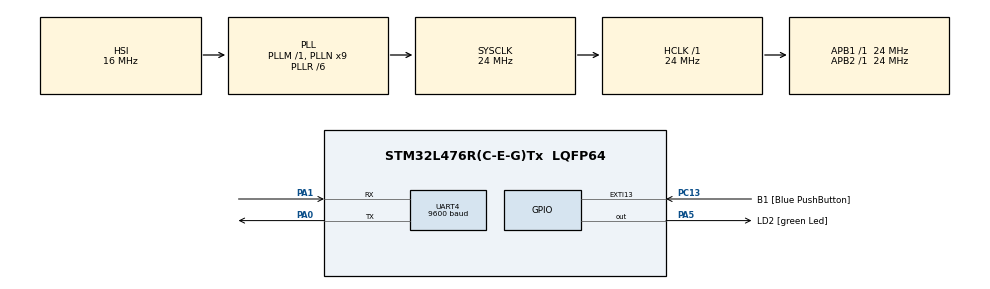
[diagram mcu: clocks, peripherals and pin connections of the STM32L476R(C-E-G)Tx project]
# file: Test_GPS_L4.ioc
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Dma.Request0=UART4_RX
Dma.Request1=UART4_TX
Dma.UART4_RX.0.Direction=DMA_PERIPH_TO_MEMORY
Dma.UART4_RX.0.Instance=DMA2_Channel5
Dma.UART4_RX.0.MemDataAlignment=DMA_MDATAALIGN_BYTE
Dma.UART4_RX.0.MemInc=DMA_MINC_ENABLE
Dma.UART4_RX.0.Mode=DMA_NORMAL
Dma.UART4_RX.0.PeriphDataAlignment=DMA_PDATAALIGN_BYTE
Dma.UART4_RX.0.PeriphInc=DMA_PINC_DISABLE
Dma.UART4_RX.0.Priority=DMA_PRIORITY_LOW
Dma.UART4_TX.1.Direction=DMA_MEMORY_TO_PERIPH
Dma.UART4_TX.1.Instance=DMA2_Channel3
Dma.UART4_TX.1.MemDataAlignment=DMA_MDATAALIGN_BYTE
Dma.UART4_TX.1.MemInc=DMA_MINC_ENABLE
Dma.UART4_TX.1.Mode=DMA_NORMAL
Dma.UART4_TX.1.PeriphDataAlignment=DMA_PDATAALIGN_BYTE
Dma.UART4_TX.1.PeriphInc=DMA_PINC_DISABLE
Dma.UART4_TX.1.Priority=DMA_PRIORITY_LOW
Mcu.Family=STM32L4
Mcu.Name=STM32L476R(C-E-G)Tx
Mcu.Package=LQFP64
NVIC.DMA2_Channel3_IRQn=true\:0\:0\:false\:false\:true\:false\:true
NVIC.DMA2_Channel5_IRQn=true\:0\:0\:false\:false\:true\:false\:true
NVIC.PriorityGroup=NVIC_PRIORITYGROUP_4
NVIC.TIM5_IRQn=true\:0\:0\:false\:false\:true\:true\:true
NVIC.UART4_IRQn=true\:0\:0\:false\:false\:true\:true\:true
PA0.Mode=Asynchronous
PA0.Signal=UART4_TX
PA1.Mode=Asynchronous
PA1.Signal=UART4_RX
PA13\ (JTMS-SWDIO).GPIO_Label=TMS
PA13\ (JTMS-SWDIO).Mode=Serial_Wire
PA13\ (JTMS-SWDIO).Signal=SYS_JTMS-SWDIO
PA14\ (JTCK-SWCLK).GPIO_Label=TCK
PA14\ (JTCK-SWCLK).Mode=Serial_Wire
PA14\ (JTCK-SWCLK).Signal=SYS_JTCK-SWCLK
PA5.GPIO_Label=LD2 [green Led]
PA5.GPIO_ModeDefaultOutputPP=GPIO_MODE_OUTPUT_PP
PA5.GPIO_PuPd=GPIO_NOPULL
PA5.GPIO_Speed=GPIO_SPEED_FREQ_LOW
PA5.Signal=GPIO_Output
PB3\ (JTDO-TRACESWO).GPIO_Label=SWO
PB3\ (JTDO-TRACESWO).Signal=SYS_JTDO-SWO
PC13.GPIO_Label=B1 [Blue PushButton]
PC13.GPIO_ModeDefaultEXTI=GPIO_MODE_IT_FALLING
PC13.GPIO_PuPd=GPIO_NOPULL
PC13.Signal=GPXTI13
PC14-OSC32_IN\ (PC14).Mode=LSE-External-Oscillator
PC14-OSC32_IN\ (PC14).Signal=RCC_OSC32_IN
PC15-OSC32_OUT\ (PC15).Mode=LSE-External-Oscillator
PC15-OSC32_OUT\ (PC15).Signal=RCC_OSC32_OUT
PH0-OSC_IN\ (PH0).Mode=HSE-External-Oscillator
PH0-OSC_IN\ (PH0).Signal=RCC_OSC_IN
PH1-OSC_OUT\ (PH1).Mode=HSE-External-Oscillator
PH1-OSC_OUT\ (PH1).Signal=RCC_OSC_OUT
ProjectManager.HeapSize=0x200
ProjectManager.StackSize=0x400
ProjectManager.TargetToolchain=TrueSTUDIO
RCC.ADCFreq_Value=64000000
RCC.AHBFreq_Value=24000000
RCC.APB1Freq_Value=24000000
RCC.APB1TimFreq_Value=24000000
RCC.APB2Freq_Value=24000000
RCC.APB2TimFreq_Value=24000000
RCC.CortexFreq_Value=24000000
RCC.HCLKFreq_Value=24000000
RCC.HSE_VALUE=8000000
RCC.HSI_VALUE=16000000
RCC.MSI_VALUE=4000000
RCC.PLLN=9
RCC.PLLR=RCC_PLLR_DIV6
RCC.PLLSourceVirtual=RCC_PLLSOURCE_HSI
RCC.PREFETCH_ENABLE=1
RCC.SYSCLKFreq_VALUE=24000000
RCC.SYSCLKSource=RCC_SYSCLKSOURCE_PLLCLK
RCC.USBFreq_Value=64000000
RCC.VCOOutputFreq_Value=144000000
TIM5.Period=480
TIM5.Prescaler=23999
UART4.AutoBaudRateEnableParam=UART_ADVFEATURE_AUTOBAUDRATE_DISABLE
UART4.BaudRate=9600
VP_TIM5_VS_ClockSourceINT.Mode=Internal
board=NUCLEO-L476RG

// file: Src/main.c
/* USER CODE BEGIN Header */
/**
  ******************************************************************************
  * @file           : main.c
  * @brief          : Main program body
  ******************************************************************************
  * @attention
  *
  * <h2><center>&copy; Copyright (c) 2020 STMicroelectronics.
  * All rights reserved.</center></h2>
  *
  * This software component is licensed by ST under BSD 3-Clause license,
  * the "License"; You may not use this file except in compliance with the
  * License. You may obtain a copy of the License at:
  *                        opensource.org/licenses/BSD-3-Clause
  *
  ******************************************************************************
  */
/* USER CODE END Header */

#include "main.h"

/* USER CODE BEGIN Includes */
#include "HAL_GPS.h"
/* USER CODE END Includes */

TIM_HandleTypeDef htim5;

UART_HandleTypeDef huart4;
DMA_HandleTypeDef hdma_uart4_rx;
DMA_HandleTypeDef hdma_uart4_tx;

DMA_HandleTypeDef hdma_memtomem_dma1_channel1;

void SystemClock_Config(void);
static void MX_GPIO_Init(void);
static void MX_DMA_Init(void);
static void MX_UART4_Init();
static void MX_TIM5_Init(void);

int main(void)
{

  /* MCU Configuration--------------------------------------------------------*/

  /* Reset of all peripherals, Initializes the Flash interface and the Systick. */
  HAL_Init();

  /* Configure the system clock */
  SystemClock_Config();

  /* Initialize all configured peripherals */
  MX_GPIO_Init();
  MX_DMA_Init();
  MX_TIM5_Init();
  /* USER CODE BEGIN 2 */
  //calculate timeout
  MX_DMA_Init();
  MX_UART4_Init();

  __HAL_DMA_ENABLE_IT(&hdma_uart4_rx, DMA_IT_TC);
  __HAL_UART_ENABLE_IT(&huart4,UART_IT_IDLE);
  HAL_UART_Receive_DMA(&huart4,DMA_RX_Buffer,DMA_RX_BUFFER_SIZE);
  //uint32_t ack_ack = UBX_Send_Ack();
//  if(ack_ack == UBX_ACK_ACK)
//  {
//	  HAL_GPIO_WritePin(LD2_GPIO_Port,LD2_Pin,SET);
//  }

  /* USER CODE END 2 */

  /* Infinite loop */
  /* USER CODE BEGIN WHILE */
  int i = 0;
  while (1)
  {
    /* USER CODE END WHILE */
	 i++;
  }
}

void SystemClock_Config(void)
{
  RCC_OscInitTypeDef RCC_OscInitStruct = {0};
  RCC_ClkInitTypeDef RCC_ClkInitStruct = {0};
  RCC_PeriphCLKInitTypeDef PeriphClkInit = {0};

  /** Initializes the CPU, AHB and APB busses clocks
  */
  RCC_OscInitStruct.OscillatorType = RCC_OSCILLATORTYPE_HSI;
  RCC_OscInitStruct.HSIState = RCC_HSI_ON;
  RCC_OscInitStruct.HSICalibrationValue = RCC_HSICALIBRATION_DEFAULT;
  RCC_OscInitStruct.PLL.PLLState = RCC_PLL_ON;
  RCC_OscInitStruct.PLL.PLLSource = RCC_PLLSOURCE_HSI;
  RCC_OscInitStruct.PLL.PLLM = 1;
  RCC_OscInitStruct.PLL.PLLN = 9;
  RCC_OscInitStruct.PLL.PLLP = RCC_PLLP_DIV7;
  RCC_OscInitStruct.PLL.PLLQ = RCC_PLLQ_DIV2;
  RCC_OscInitStruct.PLL.PLLR = RCC_PLLR_DIV6;
  if (HAL_RCC_OscConfig(&RCC_OscInitStruct) != HAL_OK)
  {
    Error_Handler();
  }
  /** Initializes the CPU, AHB and APB busses clocks
  */
  RCC_ClkInitStruct.ClockType = RCC_CLOCKTYPE_HCLK|RCC_CLOCKTYPE_SYSCLK
                              |RCC_CLOCKTYPE_PCLK1|RCC_CLOCKTYPE_PCLK2;
  RCC_ClkInitStruct.SYSCLKSource = RCC_SYSCLKSOURCE_PLLCLK;
  RCC_ClkInitStruct.AHBCLKDivider = RCC_SYSCLK_DIV1;
  RCC_ClkInitStruct.APB1CLKDivider = RCC_HCLK_DIV1;
  RCC_ClkInitStruct.APB2CLKDivider = RCC_HCLK_DIV1;

  if (HAL_RCC_ClockConfig(&RCC_ClkInitStruct, FLASH_LATENCY_1) != HAL_OK)
  {
    Error_Handler();
  }
  PeriphClkInit.PeriphClockSelection = RCC_PERIPHCLK_UART4;
  PeriphClkInit.Uart4ClockSelection = RCC_UART4CLKSOURCE_PCLK1;
  if (HAL_RCCEx_PeriphCLKConfig(&PeriphClkInit) != HAL_OK)
  {
    Error_Handler();
  }
  /** Configure the main internal regulator output voltage
  */
  if (HAL_PWREx_ControlVoltageScaling(PWR_REGULATOR_VOLTAGE_SCALE1) != HAL_OK)
  {
    Error_Handler();
  }
}

static void MX_TIM5_Init(void)
{

  TIM_ClockConfigTypeDef sClockSourceConfig = {0};
  TIM_MasterConfigTypeDef sMasterConfig = {0};

  htim5.Instance = TIM5;
  htim5.Init.Prescaler = 23999;
  htim5.Init.CounterMode = TIM_COUNTERMODE_UP;
  htim5.Init.Period = 480;
  htim5.Init.ClockDivision = TIM_CLOCKDIVISION_DIV1;
  htim5.Init.AutoReloadPreload = TIM_AUTORELOAD_PRELOAD_DISABLE;
  if (HAL_TIM_Base_Init(&htim5) != HAL_OK)
  {
    Error_Handler();
  }
  sClockSourceConfig.ClockSource = TIM_CLOCKSOURCE_INTERNAL;
  if (HAL_TIM_ConfigClockSource(&htim5, &sClockSourceConfig) != HAL_OK)
  {
    Error_Handler();
  }
  sMasterConfig.MasterOutputTrigger = TIM_TRGO_RESET;
  sMasterConfig.MasterSlaveMode = TIM_MASTERSLAVEMODE_DISABLE;
  if (HAL_TIMEx_MasterConfigSynchronization(&htim5, &sMasterConfig) != HAL_OK)
  {
    Error_Handler();
  }

}

static void MX_UART4_Init()
{

  huart4.Instance = UART4;
  huart4.Init.BaudRate = 9600;
  huart4.Init.WordLength = UART_WORDLENGTH_8B;
  huart4.Init.StopBits = UART_STOPBITS_1;
  huart4.Init.Parity = UART_PARITY_NONE;
  huart4.Init.Mode = UART_MODE_TX_RX;
  huart4.Init.HwFlowCtl = UART_HWCONTROL_NONE;
  huart4.Init.OverSampling = UART_OVERSAMPLING_16;
  huart4.Init.OneBitSampling = UART_ONE_BIT_SAMPLE_DISABLE;
  huart4.AdvancedInit.AdvFeatureInit = UART_ADVFEATURE_AUTOBAUDRATE_INIT;
  huart4.AdvancedInit.AutoBaudRateEnable = UART_ADVFEATURE_AUTOBAUDRATE_ENABLE;
  huart4.AdvancedInit.AutoBaudRateMode = UART_ADVFEATURE_AUTOBAUDRATE_ONSTARTBIT;
  if (HAL_UART_Init(&huart4) != HAL_OK)
  {
    Error_Handler();
  }
  /* USER CODE BEGIN UART4_Init 2 */
  /********************** AUTOBAUDRATE Detection *****************/
  /* Wait until Receive enable acknowledge flag is set */
  while(__HAL_UART_GET_FLAG(&huart4,UART_FLAG_REACK) == RESET)
  {}
  /* Wait until Transmit enable acknowledge flag is set */
  while(__HAL_UART_GET_FLAG(&huart4,UART_FLAG_TEACK) == RESET)
  {}
  /* Loop until the end of Autobaudrate phase */
  while(__HAL_UART_GET_FLAG(&huart4,UART_FLAG_ABRF) == RESET)
  {}
  /* Check for any errors that may have occured */
  if(__HAL_UART_GET_FLAG(&huart4, UART_FLAG_ABRE) != SET)
  {
	  // wait for RXNE flag
	  while(__HAL_UART_GET_FLAG(&huart4, UART_FLAG_RXNE) != SET);

  }

  /*********************** END *******************************/
  // clear any additional errors
  		if(__HAL_UART_GET_FLAG(&huart4,UART_FLAG_PE))
  		{
  			__HAL_UART_CLEAR_FLAG(&huart4,UART_FLAG_PE);
  		}
  		if(__HAL_UART_GET_FLAG(&huart4,UART_FLAG_NE))
  		{
  			__HAL_UART_CLEAR_FLAG(&huart4,UART_FLAG_NE);
  		}
  		if(__HAL_UART_GET_FLAG(&huart4,UART_FLAG_FE))
  		{
  			__HAL_UART_CLEAR_FLAG(&huart4,UART_FLAG_FE);
  		}
  		if(__HAL_UART_GET_FLAG(&huart4,UART_FLAG_ORE))
  		{
  			__HAL_UART_CLEAR_FLAG(&huart4,UART_FLAG_ORE);
  		}
  		__HAL_UART_CLEAR_FLAG(&huart4,UART_FLAG_IDLE);
  		USART_TX_Ready = 1;
  /* USER CODE END UART4_Init 2 */

}

static void MX_DMA_Init(void)
{

  /* DMA controller clock enable */
  __HAL_RCC_DMA2_CLK_ENABLE();
  __HAL_RCC_DMA1_CLK_ENABLE();

  /* Configure DMA request hdma_memtomem_dma1_channel1 on DMA1_Channel1 */
  hdma_memtomem_dma1_channel1.Instance = DMA1_Channel1;
  hdma_memtomem_dma1_channel1.Init.Request = DMA_REQUEST_0;
  hdma_memtomem_dma1_channel1.Init.Direction = DMA_MEMORY_TO_MEMORY;
  hdma_memtomem_dma1_channel1.Init.PeriphInc = DMA_PINC_ENABLE;
  hdma_memtomem_dma1_channel1.Init.MemInc = DMA_MINC_ENABLE;
  hdma_memtomem_dma1_channel1.Init.PeriphDataAlignment = DMA_PDATAALIGN_BYTE;
  hdma_memtomem_dma1_channel1.Init.MemDataAlignment = DMA_MDATAALIGN_BYTE;
  hdma_memtomem_dma1_channel1.Init.Mode = DMA_NORMAL;
  hdma_memtomem_dma1_channel1.Init.Priority = DMA_PRIORITY_LOW;
  if (HAL_DMA_Init(&hdma_memtomem_dma1_channel1) != HAL_OK)
  {
    Error_Handler( );
  }

  /* DMA interrupt init */
  /* DMA1_Channel1_IRQn interrupt configuration */
  HAL_NVIC_SetPriority(DMA1_Channel1_IRQn, 0, 0);
  HAL_NVIC_EnableIRQ(DMA1_Channel1_IRQn);
  /* DMA2_Channel3_IRQn interrupt configuration */
  HAL_NVIC_SetPriority(DMA2_Channel3_IRQn, 0, 0);
  HAL_NVIC_EnableIRQ(DMA2_Channel3_IRQn);
  /* DMA2_Channel5_IRQn interrupt configuration */
  HAL_NVIC_SetPriority(DMA2_Channel5_IRQn, 0, 0);
  HAL_NVIC_EnableIRQ(DMA2_Channel5_IRQn);

}

static void MX_GPIO_Init(void)
{
  GPIO_InitTypeDef GPIO_InitStruct = {0};

  /* GPIO Ports Clock Enable */
  __HAL_RCC_GPIOC_CLK_ENABLE();
  __HAL_RCC_GPIOH_CLK_ENABLE();
  __HAL_RCC_GPIOA_CLK_ENABLE();
  __HAL_RCC_GPIOB_CLK_ENABLE();

  /*Configure GPIO pin Output Level */
  HAL_GPIO_WritePin(LD2_GPIO_Port, LD2_Pin, GPIO_PIN_RESET);

  /*Configure GPIO pin : B1_Pin */
  GPIO_InitStruct.Pin = B1_Pin;
  GPIO_InitStruct.Mode = GPIO_MODE_IT_FALLING;
  GPIO_InitStruct.Pull = GPIO_NOPULL;
  HAL_GPIO_Init(B1_GPIO_Port, &GPIO_InitStruct);

  /*Configure GPIO pin : LD2_Pin */
  GPIO_InitStruct.Pin = LD2_Pin;
  GPIO_InitStruct.Mode = GPIO_MODE_OUTPUT_PP;
  GPIO_InitStruct.Pull = GPIO_NOPULL;
  GPIO_InitStruct.Speed = GPIO_SPEED_FREQ_LOW;
  HAL_GPIO_Init(LD2_GPIO_Port, &GPIO_InitStruct);

}

/* USER CODE BEGIN 4 */
void  USART_GPS_IRQHandler( UART_HandleTypeDef* huart, DMA_HandleTypeDef* hdma )
{
	if(__HAL_UART_GET_IT_SOURCE(huart,UART_IT_IDLE))
	{

		//clears IDLE AND OVERRUN ERROR FLAG
		uint32_t temp  = huart->Instance->RDR;
		temp = huart->Instance->ISR;
		(void)temp;

		 HAL_USART_Error_Handle(huart);
		//clear DMA stream
		//This code overcomes the errata in the DMA where
		//all three Transfer flags active causes the DMA Channel
		//To become disabled

		__HAL_DMA_DISABLE(hdma);
		__NOP();

	}
	//Tx USART_Handler
	if(__HAL_UART_GET_IT(huart,UART_IT_TC))
	{
		//read from TDR
		if(USART_TX_Ready)
		{
			uint32_t temp = huart->Instance->TDR;
			(void)temp;
			//clear flag
			__HAL_UART_CLEAR_FLAG(huart,UART_FLAG_TC |UART_FLAG_TXE);
			//disable DMA
			TX_COMPLETE_FLAG = 1;
			USART_TX_Ready = 0;
			Clear_Buffer(DMA_TX_Buffer,DMA_TX_BUFFER_SIZE);
			CLEAR_BIT(huart->Instance->CR3, USART_CR3_DMAT);
			huart->gState = HAL_UART_STATE_READY;
		}else
		{
			__HAL_UART_CLEAR_FLAG(huart,UART_FLAG_TC |UART_FLAG_TXE);
			__HAL_UART_DISABLE_IT(huart, UART_IT_TC);

		}
	}

}

void DMA_Rx_IRQHandler( DMA_HandleTypeDef* hdma, UART_HandleTypeDef* huart )
{

	if(__HAL_DMA_GET_IT_SOURCE(hdma,DMA_IT_TC))
	{
		//clear Transfer complete flag
		__HAL_DMA_CLEAR_FLAG(hdma,DMA_Rx_Flag_TCF);
		//get position

		/*****************************************************************/
		/*    	     TODO: Additional processing HERE    				 */
		/*****************************************************************/
		//stop timer
		gnss_length = DMA_RX_BUFFER_SIZE - __HAL_DMA_GET_COUNTER(hdma);
		HAL_TIM_Base_Stop_IT(&htim5);
		/*****************************************************************/
		/*    	     					end				   				 */
		/*****************************************************************/

		/* Method to prepare for next DMA transfer*/
		HAL_DMA_Start_IT(&hdma_memtomem_dma1_channel1,(uint32_t)DMA_RX_Buffer,(uint32_t)GNSS_LOG_Buffer,gnss_length);
		hdma->DmaBaseAddress->IFCR = 0x3FU << hdma->ChannelIndex; // clear all interrupts
		hdma->Instance->CMAR = (uint32_t)DMA_RX_Buffer; //reset the pointer
		hdma->Instance->CNDTR = DMA_RX_BUFFER_SIZE; //set the number of bytes to expect
	}

}
void DMA_MEM_IRQHandler(DMA_HandleTypeDef* hdma, UART_HandleTypeDef* huart)
{
	if(__HAL_DMA_GET_IT_SOURCE(hdma,DMA_IT_TC))
	{
		RX_COMPLETE_FLAG = 1;

		//clear RX Buffer
		Clear_Buffer(DMA_RX_Buffer,DMA_RX_BUFFER_SIZE);
		__HAL_DMA_CLEAR_FLAG(hdma,DMA_MEM_FLAG_TC);
		__HAL_DMA_ENABLE(huart->hdmarx);
		while(HAL_IS_BIT_SET(huart->hdmarx->Instance->CCR, DMA_CCR_EN)==RESET);

	}
}
void HAL_USART_Error_Handle(UART_HandleTypeDef *huart)
{
				uint32_t temp  = READ_REG(huart->Instance->ISR);
		 		temp =  READ_REG(huart->Instance->ISR);
		 		(void)temp;
	 			__HAL_UART_DISABLE_IT(huart, UART_IT_IDLE);
	 			CLEAR_BIT(huart->Instance->CR1, (USART_CR1_RXNEIE | USART_CR1_PEIE));
	 			CLEAR_BIT(huart->Instance->CR3, USART_CR3_EIE);
	 			huart4.Instance->ICR = 0xFFFF;
	 			if(__HAL_UART_GET_FLAG(huart,UART_FLAG_ORE))
	 			{
	 				__HAL_UART_CLEAR_FLAG(huart,UART_FLAG_ORE);
	 			}
	 			// clear any additional errors
	 			if(__HAL_UART_GET_FLAG(huart,UART_FLAG_PE))
	 			{
	 				__HAL_UART_CLEAR_FLAG(huart,UART_FLAG_PE);
	 			}
	 			if(__HAL_UART_GET_FLAG(huart,UART_FLAG_NE))
	 			{
	 				__HAL_UART_CLEAR_FLAG(huart,UART_FLAG_NE);
	 			}
	 			if(__HAL_UART_GET_FLAG(huart,UART_FLAG_FE))
	 			{
	 				__HAL_UART_CLEAR_FLAG(huart,UART_FLAG_FE);
	 			}
}
/********************* END OF PERIPHERAL FUNCTIONS ********************************/

/********************* START OF UBX FUNCTIONS ************************************/
UBX_MSG_t UBX_Send_Ack(void)
{

	uint8_t ubx_ack_string[] = {0xB5 ,0x62 ,0x06 ,0x09 ,0x0D ,0x00 ,0x00 ,0x00 ,0x00 ,0x00 ,0xFF ,0xFF ,0x00 ,0x00 ,0x00 ,0x00 ,0x00 ,0x00 ,0x17 ,0x31 ,0xBF };
	 int size = (sizeof(ubx_ack_string)/sizeof(*ubx_ack_string));

	 for (int i = 0; i < size ; ++i)
	 {
		DMA_TX_Buffer[i] = ubx_ack_string[i];
	 }
	 __HAL_UART_ENABLE_IT(&huart4, UART_IT_TC);
	 if(HAL_UART_Transmit_DMA(&huart4,DMA_TX_Buffer,size)== HAL_OK)
	 {
		  __HAL_DMA_ENABLE_IT(&hdma_uart4_rx, DMA_IT_TC);
		  __HAL_UART_ENABLE_IT(&huart4,UART_IT_IDLE);
		 HAL_UART_Receive_DMA(&huart4,DMA_RX_Buffer,DMA_RX_BUFFER_SIZE);
		// USART_Begin_Timeout(&htim5,10000);
	 }else
	 {
		 return UBX_TIMEOUT_Tx;
	 }

	 while(!RX_COMPLETE_FLAG)
	 {
		 if(RX_TIMEOUT_FLAG)
		 {
			 RX_TIMEOUT_FLAG = 0;
			 return UBX_TIMEOUT_Rx;
		 }
	 }
	 RX_COMPLETE_FLAG = 0;
	 //wait for Rx to complete
	 //find first occurance of 0xB5
	 char val = (char) 0xB5;
	 int index = (int)(strchr((char*)GNSS_LOG_Buffer,val))-(int)GNSS_LOG_Buffer;
	 if((index < 0) || (index >GNSS_LOG_BUFFER_SIZE))
	 {
	 	return UBX_ERROR;
	 }
	 uint8_t msg[10] = {0};
	 memcpy(msg,&GNSS_LOG_Buffer[index],10);
	 UBX_MSG_t GPS_Acknowledgement_State;
	 uint16_t header = ((uint16_t)msg[0]<<8) | ((uint16_t)msg[1]);
	 if(header == 0xb562)
	 {
		 uint8_t ck_A =0, ck_B =0;
		 for (int i = 2; i < 8; ++i)
		 {
		 	ck_A += (uint8_t)msg[i];
		 	ck_B += ck_A;
		 }
		 if((ck_A == msg[8])&& (ck_B == msg[9]))
		 {
		 	//acknowledgement
		 	if(msg[2] == 0x05)
		 	{
		 		switch (msg[3])
		 		{
		 			case 0:
		 			GPS_Acknowledgement_State = UBX_ACK_NACK;
		 			break;
		 			case 1:
		 			GPS_Acknowledgement_State = UBX_ACK_ACK;
		 			break;
		 		}
		 	}
		 }
		 else
		 {
		 	GPS_Acknowledgement_State = UBX_ERROR;
		 }
	 }
	 return GPS_Acknowledgement_State;
}

void USART_GPS_Timout_Handler(TIM_HandleTypeDef *htim, UART_HandleTypeDef *huart)
{
	//disable Timer
	HAL_TIM_Base_Stop_IT(htim);
	RX_TIMEOUT_FLAG = 1;
	//disable DMA
	HAL_UART_DMAStop(huart);
}

void USART_Begin_Timeout(TIM_HandleTypeDef *htim,uint32_t ms)
{
	  uint32_t time = ms; //ms
	  //clear any pending updates
	  __HAL_TIM_SET_AUTORELOAD(htim,time);
	  __HAL_TIM_CLEAR_IT(htim,TIM_IT_UPDATE);
	  HAL_TIM_Base_Start_IT(htim);
}

void Clear_Buffer(uint8_t* buffer,int size)
{
	for (int i = 0; i < size; ++i)
	{
		buffer[i] = 0;
	}
}
/* USER CODE END 4 */

void Error_Handler(void)
{
}

/************************ (C) COPYRIGHT STMicroelectronics *****END OF FILE****/
